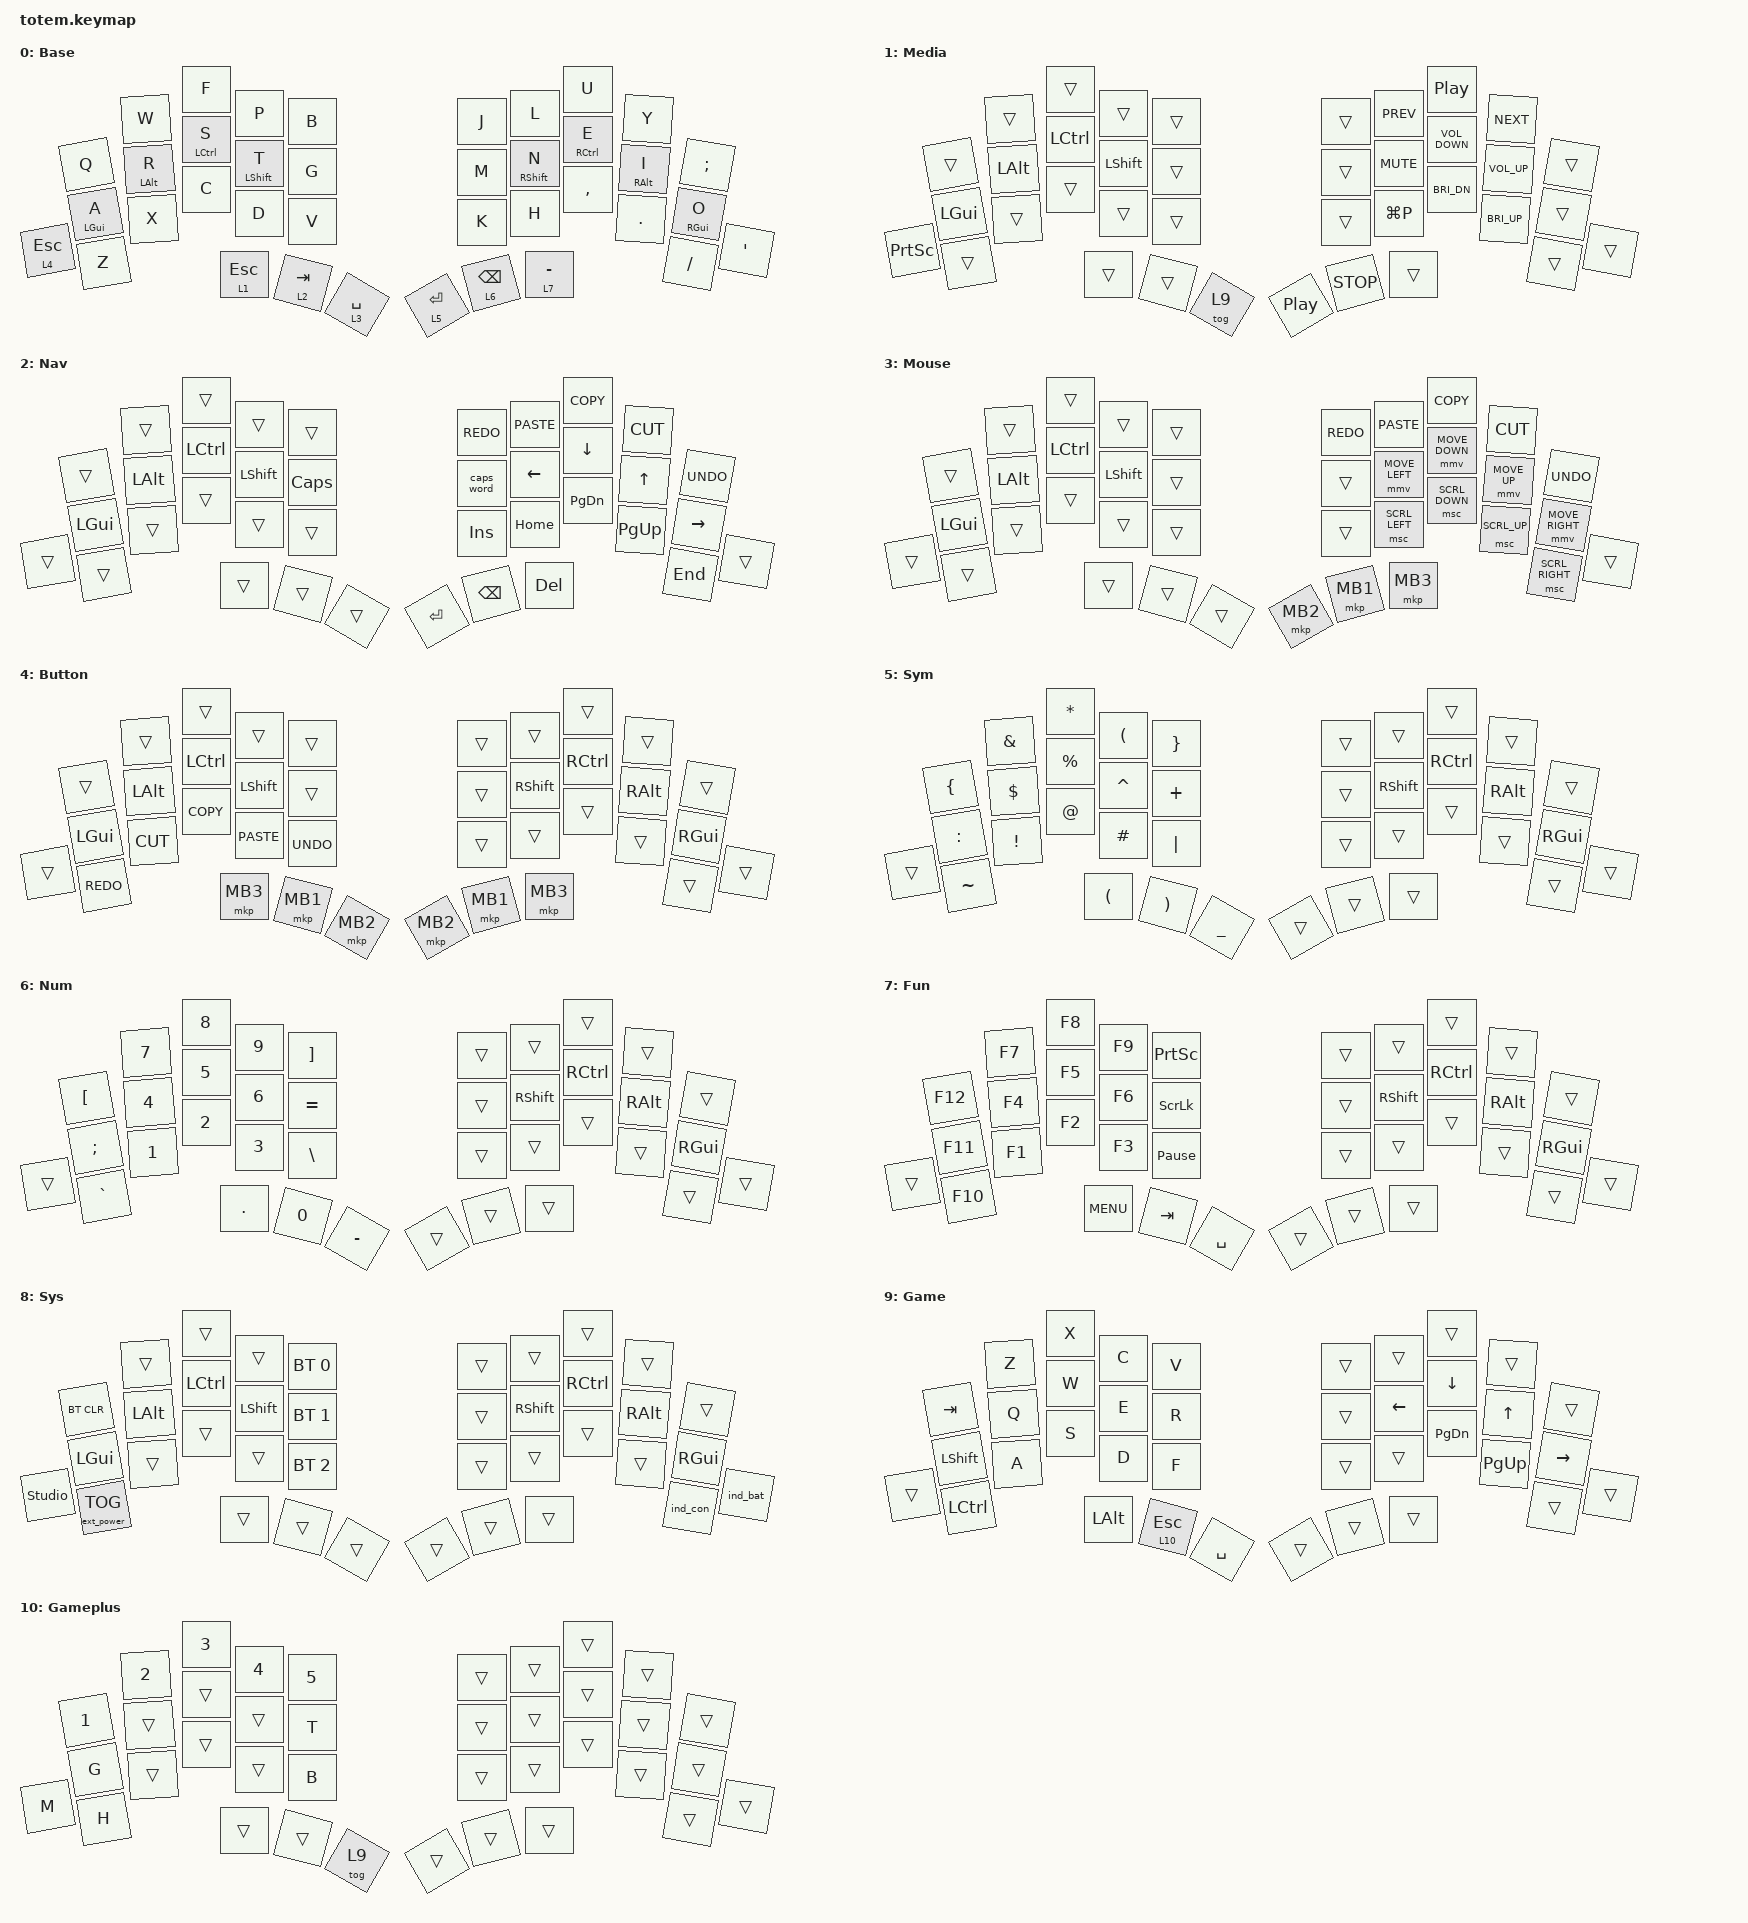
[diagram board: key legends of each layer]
//
//                                                        ▀▀▀▀▀     ▀▀▀▀▀          ▀▀█▀▀
//                                                        ▄▀▀▀▄  ▄  ▄▀▀▀▄  ▄  ▄▀▀▀▄  █  ▄▀▀▀▄
//                                                        █   █  █  █   █  █  █   █  █  █   █
//                                                         ▀▀▀   █   ▀▀▀   █   ▀▀▀   ▀   ▀▀▀
//                                                               █      ▄▄▄█▄▄▄    █   █  
//                                                               ▀      █  █  █     █▄█
//                                                             ▀▀▀▀▀    █  █  █      ▀
//                                                                      ▀  ▀  ▀
//
// ▄▄▄▄▄▄▄▄▄▄▄▄▄▄▄▄▄▄▄▄▄▄▄▄▄▄▄▄▄▄▄▄▄▄▄▄▄▄▄▄▄▄▄▄▄▄▄▄▄▄▄▄▄▄▄▄▄▄▄▄▄▄▄▄▄▄▄▄▄▄▄▄▄▄▄▄▄▄▄▄▄▄▄▄▄▄▄▄▄▄▄▄▄▄▄▄▄▄▄▄▄▄▄▄▄▄▄▄▄▄▄▄▄▄▄▄▄▄▄▄▄▄▄▄▄▄▄▄▄▄▄▄▄▄▄▄▄▄▄▄▄▄▄▄▄▄▄▄▄
// Include the RGB LED widget for lighting effects

#include <behaviors/rgbled_widget.dtsi>
#include <behaviors.dtsi>
#include <dt-bindings/zmk/bt.h>
#include <dt-bindings/zmk/ext_power.h>
#include <dt-bindings/zmk/keys.h>
#include <dt-bindings/zmk/pointing.h>

#define Base        0
#define Media       1
#define Nav         2
#define Mouse       3
#define Sym         4
#define Num         5
#define Fun         6
#define Button      7
#define Game        8
#define Gameplus    9

#include "include/homerow_mods.dtsi"

&mt {
    quick-tap-ms = <100>;
    global-quick-tap;
    flavor = "tap-preferred";
    tapping-term-ms = <170>;
};

&lt {
    tapping-term-ms = <240>;
    flavor = "balanced";
    quick-tap-ms = <150>;
};

/ {
    behaviors {
        hm: homerow_mods {
            compatible = "zmk,behavior-hold-tap";
            label = "HOMEROW_MODS";
            #binding-cells = <2>;
            flavor = "tap-preferred";
            tapping-term-ms = <200>;
            quick-tap-ms = <150>;
            global-quick-tap;
            bindings = <&kp>, <&kp>;
        };
    };

    combos {
        compatible = "zmk,combos";

        Sys_Layer_moment {
            bindings = <&sl 8>;
            key-positions = <20 31 34 35>;
        };
    };

    keymap {
        compatible = "zmk,keymap";

        Base {
            label = "Base";
            bindings = <
              &kp Q        &kp W            &kp F         &kp P          &kp B          &kp J        &kp L         &kp U         &kp Y        &kp SEMI
              &hml LGUI A  &hml LEFT_ALT R  &hml LCTRL S  &hml LSHIFT T  &kp G          &kp M        &hmr RSHFT N  &hmr RCTRL E  &hmr RALT I  &hmr RGUI O
&lt 4 ESCAPE  &kp Z        &kp X            &kp C         &kp D          &kp V          &kp K        &kp H         &kp COMMA     &kp DOT      &kp SLASH    &kp APOSTROPHE
                                            &lt 1 ESCAPE  &lt 2 TAB      &lt 3 SPACE    &lt 5 ENTER  &lt 6 BSPC    &lt 7 MINUS
            >;
        };

        Media {
            label = "Media";
            bindings = <
                 &trans    &trans    &trans     &trans      &trans    &trans    &kp C_PREV  &kp C_PLAY_PAUSE   &kp C_NEXT       &trans
                 &kp LGUI  &kp LALT  &kp LCTRL  &kp LSHIFT  &trans    &trans    &kp C_MUTE  &kp C_VOLUME_DOWN  &kp C_VOLUME_UP  &trans
&kp PRINTSCREEN  &trans    &trans    &trans     &trans      &trans    &trans    &kp LG(P)   &kp C_BRI_DN       &kp C_BRI_UP     &trans  &trans
                                     &trans     &trans      &tog 9    &kp C_PP  &kp C_STOP  &trans
            >;
        };

        Nav {
            label = "Nav";
            bindings = <
        &trans        &trans    &trans     &trans      &trans          &kp K_REDO  &kp K_PASTE    &kp K_COPY     &kp K_CUT    &kp K_UNDO
        &kp LEFT_GUI  &kp LALT  &kp LCTRL  &kp LSHIFT  &kp CAPSLOCK    &caps_word  &kp LEFT       &kp DOWN       &kp UP       &kp RIGHT
&trans  &trans        &trans    &trans     &trans      &trans          &kp INSERT  &kp HOME       &kp PAGE_DOWN  &kp PAGE_UP  &kp END     &trans
                                &trans     &trans      &trans          &kp RETURN  &kp BACKSPACE  &kp DEL
            >;
        };

        Mouse {
            label = "Mouse";
            bindings = <
        &trans        &trans        &trans     &trans          &trans    &kp K_REDO  &kp K_PASTE     &kp K_COPY      &kp K_CUT     &kp K_UNDO
        &kp LEFT_GUI  &kp LEFT_ALT  &kp LCTRL  &kp LEFT_SHIFT  &trans    &trans      &mmv MOVE_LEFT  &mmv MOVE_DOWN  &mmv MOVE_UP  &mmv MOVE_RIGHT
&trans  &trans        &trans        &trans     &trans          &trans    &trans      &msc SCRL_LEFT  &msc SCRL_DOWN  &msc SCRL_UP  &msc SCRL_RIGHT  &trans
                                    &trans     &trans          &trans    &mkp MB2    &mkp MB1        &mkp MB3
            >;
        };

        Button {
            bindings = <
        &trans      &trans     &trans      &trans       &trans        &trans    &trans     &trans     &trans    &trans
        &kp LGUI    &kp LALT   &kp LCTRL   &kp LSHFT    &trans        &trans    &kp RSHFT  &kp RCTRL  &kp RALT  &kp RGUI
&trans  &kp K_REDO  &kp K_CUT  &kp K_COPY  &kp K_PASTE  &kp K_UNDO    &trans    &trans     &trans     &trans    &trans    &trans
                               &mkp MB3    &mkp MB1     &mkp MB2      &mkp MB2  &mkp MB1   &mkp MB3
            >;
        };

        Sym {
            label = "Sym";
            bindings = <
        &kp LEFT_BRACE  &kp AMPERSAND  &kp ASTERISK          &kp LEFT_PARENTHESIS   &kp RIGHT_BRACE    &trans  &trans      &trans     &trans    &trans
        &kp COLON       &kp DOLLAR     &kp PERCENT           &kp CARET              &kp PLUS           &trans  &kp RSHIFT  &kp RCTRL  &kp RALT  &kp RGUI
&trans  &kp TILDE       &kp EXCL       &kp AT                &kp HASH               &kp PIPE           &trans  &trans      &trans     &trans    &trans    &trans
                                       &kp LEFT_PARENTHESIS  &kp RIGHT_PARENTHESIS  &kp UNDERSCORE     &trans  &trans      &trans
            >;
        };

        Num {
            label = "Num";
            bindings = <
        &kp LEFT_BRACKET  &kp NUMBER_7  &kp NUMBER_8  &kp NUMBER_9  &kp RIGHT_BRACKET    &trans  &trans      &trans     &trans    &trans
        &kp SEMICOLON     &kp NUMBER_4  &kp NUMBER_5  &kp NUMBER_6  &kp EQUAL            &trans  &kp RSHIFT  &kp RCTRL  &kp RALT  &kp RGUI
&trans  &kp GRAVE         &kp NUMBER_1  &kp NUMBER_2  &kp NUMBER_3  &kp BACKSLASH        &trans  &trans      &trans     &trans    &trans    &trans
                                        &kp DOT       &kp NUMBER_0  &kp MINUS            &trans  &trans      &trans
            >;
        };

        Fun {
            label = "Fun";
            bindings = <
        &kp F12  &kp F7  &kp F8      &kp F9   &kp PRINTSCREEN    &trans  &trans      &trans     &trans    &trans
        &kp F11  &kp F4  &kp F5      &kp F6   &kp SCROLLLOCK     &trans  &kp RSHIFT  &kp RCTRL  &kp RALT  &kp RGUI
&trans  &kp F10  &kp F1  &kp F2      &kp F3   &kp PAUSE_BREAK    &trans  &trans      &trans     &trans    &trans    &trans
                         &kp C_MENU  &kp TAB  &kp SPACE          &trans  &trans      &trans
            >;
        };

        Sys {
            label = "Sys";
            bindings = <
                &bt BT_CLR         &trans    &trans     &trans      &bt BT_SEL 0    &trans  &trans      &trans     &trans    &trans
                &kp LGUI           &kp LALT  &kp LCTRL  &kp LSHIFT  &bt BT_SEL 1    &trans  &kp RSHIFT  &kp RCTRL  &kp RALT  &kp RGUI
&studio_unlock  &ext_power EP_TOG  &trans    &trans     &trans      &bt BT_SEL 2    &trans  &trans      &trans     &trans    &ind_con  &ind_bat
                                             &trans     &trans      &trans          &trans  &trans      &trans
            >;
        };

        Game {
            label = "Game";
            bindings = <
        &kp TAB         &kp Z  &kp X     &kp C          &kp V        &trans  &trans    &trans         &trans       &trans
        &kp LEFT_SHIFT  &kp Q  &kp W     &kp E          &kp R        &trans  &kp LEFT  &kp DOWN       &kp UP       &kp RIGHT
&trans  &kp LCTRL       &kp A  &kp S     &kp D          &kp F        &trans  &trans    &kp PAGE_DOWN  &kp PAGE_UP  &trans     &trans
                               &kp LALT  &lt 10 ESCAPE  &kp SPACE    &trans  &trans    &trans
            >;
        };

        Gameplus {
            label = "Gameplus";
            bindings = <
       &kp NUMBER_1  &kp NUMBER_2  &kp NUMBER_3  &kp NUMBER_4  &kp NUMBER_5    &trans  &trans  &trans  &trans  &trans
       &kp G         &trans        &trans        &trans        &kp T           &trans  &trans  &trans  &trans  &trans
&kp M  &kp H         &trans        &trans        &trans        &kp B           &trans  &trans  &trans  &trans  &trans  &trans
                                   &trans        &trans        &tog 9          &trans  &trans  &trans
            >;
        };
    };
};
